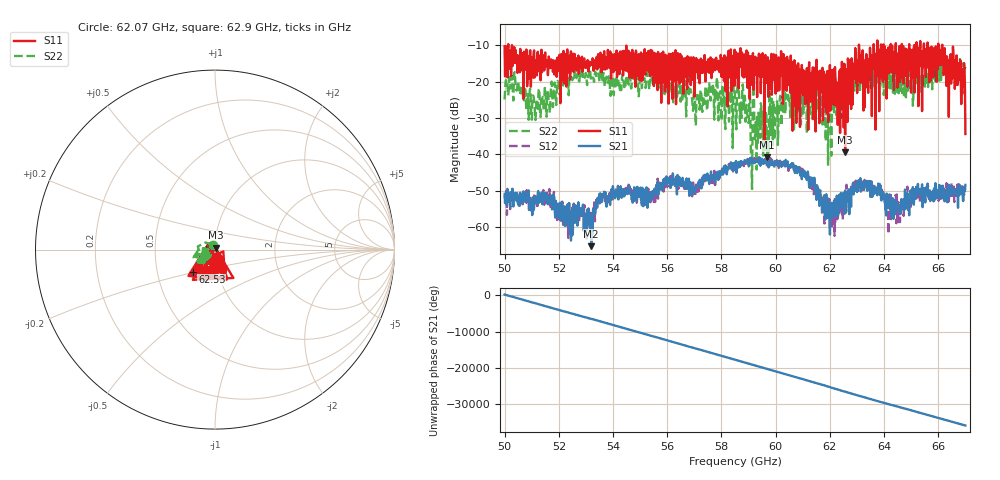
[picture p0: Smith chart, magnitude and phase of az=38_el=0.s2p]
!Created with skrf (http://scikit-rf.org).
# GHz S RI R 50.0
!freq ReS11 ImS11 ReS21 ImS21 ReS12 ImS12 ReS22 ImS22
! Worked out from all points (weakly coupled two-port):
!   1001 points, 50 GHz to 67 GHz, reference 50 ohm
!   highest |S21| = -40.74 dB at 59.69 GHz (marker M1); lowest = -65.2 dB at 53.2 GHz (marker M2)
!   lowest |S11| = -39.4 dB at 62.56 GHz (marker M3), VSWR 1.02, Z = 50.3 + j1.04 ohm
!   |S11| at or under -10 dB: 50.27 GHz to 63.07 GHz (12.8 GHz wide, 22.6 % of centre); 63.07 GHz to 63.62 GHz (542.1 MHz wide, 0.856 % of centre); 66.15 GHz to end of sweep (the widest 3 of 19)
!   |S22| runs from -49.5 to -13.8 dB; largest |S21 - S12| = 0.0022
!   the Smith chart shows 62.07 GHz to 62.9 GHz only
!   S11 on the Smith chart (normalised r, x): 62.07 GHz: 1.02, -0.10; 62.53 GHz: 0.76, -0.19; 62.9 GHz: 1.07, -0.22
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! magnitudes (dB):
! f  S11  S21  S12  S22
! 50 GHz  -10.3  -50.8  -51.3  -24.9
! 50.42 GHz  -14.9  -52.6  -52.1  -22.3
! 51.07 GHz  -12.3  -55.3  -54.4  -24.2
! 52.84 GHz  -14.4  -55.9  -56.4  -19.1
! 53.2 GHz  -15.3  -65.2  -59.4  -19.7
! 53.62 GHz  -15.4  -51.1  -51.3  -19.5
! 55.68 GHz  -13.8  -50.5  -48.9  -21.8
! 57.07 GHz  -13.5  -49.0  -50.0  -26.8
! 58.5 GHz  -21.0  -43.8  -43.4  -24.1
! 58.84 GHz  -12.5  -42.2  -42.5  -25.8
! 59.06 GHz  -13.1  -40.9  -41.7  -26.0
! 59.69 GHz  -15.1  -40.7  -41.7  -40.1
! 60.39 GHz  -15.7  -42.4  -43.1  -23.5
! 61.34 GHz  -24.1  -47.1  -47.8  -26.5
! 62.07 GHz  -26.0  -57.7  -60.3  -30.9
! 62.53 GHz  -15.1  -56.3  -52.3  -18.4
! 62.56 GHz  -39.4  -49.9  -50.0  -20.2
! 62.9 GHz  -19.3  -49.3  -49.1  -22.5
! 64.18 GHz  -17.7  -53.5  -51.9  -18.0
! 66.08 GHz  -15.0  -48.5  -49.4  -15.3
! 66.9 GHz  -16.6  -50.2  -48.8  -15.0
! 67 GHz  -34.4  -48.3  -49.3  -15.9
